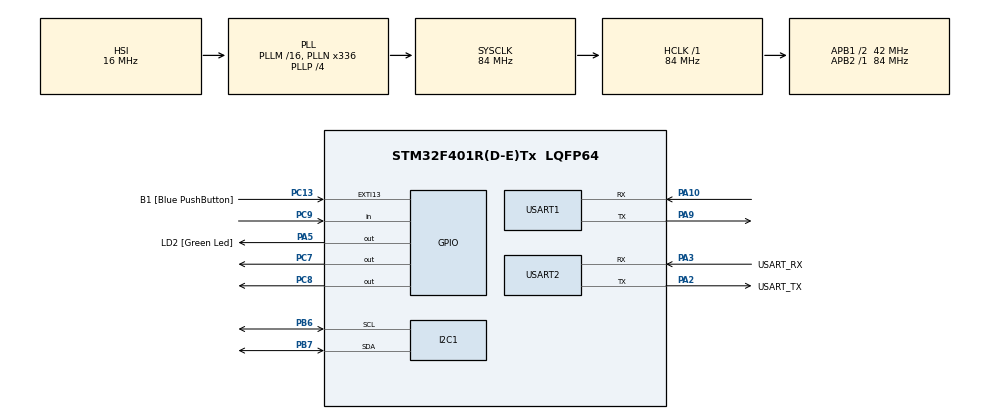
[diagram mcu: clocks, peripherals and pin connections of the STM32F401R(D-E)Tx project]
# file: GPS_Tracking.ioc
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Mcu.Family=STM32F4
Mcu.Name=STM32F401R(D-E)Tx
Mcu.Package=LQFP64
NVIC.PriorityGroup=NVIC_PRIORITYGROUP_4
NVIC.RTC_Alarm_IRQn=true\:0\:0\:false\:false\:true\:true\:true\:true
PA10.Mode=Asynchronous
PA10.Signal=USART1_RX
PA13.GPIO_Label=TMS
PA13.Mode=Trace_Asynchronous_SW
PA13.Signal=SYS_JTMS-SWDIO
PA14.GPIO_Label=TCK
PA14.Mode=Trace_Asynchronous_SW
PA14.Signal=SYS_JTCK-SWCLK
PA2.GPIO_Label=USART_TX
PA2.GPIO_Mode=GPIO_MODE_AF_PP
PA2.GPIO_PuPd=GPIO_NOPULL
PA2.GPIO_Speed=GPIO_SPEED_FREQ_LOW
PA2.Mode=Asynchronous
PA2.Signal=USART2_TX
PA3.GPIO_Label=USART_RX
PA3.GPIO_Mode=GPIO_MODE_AF_PP
PA3.GPIO_PuPd=GPIO_NOPULL
PA3.GPIO_Speed=GPIO_SPEED_FREQ_LOW
PA3.Mode=Asynchronous
PA3.Signal=USART2_RX
PA5.GPIO_Label=LD2 [Green Led]
PA5.GPIO_Mode=GPIO_MODE_OUTPUT_PP
PA5.GPIO_PuPd=GPIO_NOPULL
PA5.GPIO_Speed=GPIO_SPEED_FREQ_LOW
PA5.Signal=GPIO_Output
PA9.Mode=Asynchronous
PA9.Signal=USART1_TX
PB3.GPIO_Label=SWO
PB3.Mode=Trace_Asynchronous_SW
PB3.Signal=SYS_JTDO-SWO
PB6.Mode=I2C
PB6.Signal=I2C1_SCL
PB7.Mode=I2C
PB7.Signal=I2C1_SDA
PC13-ANTI_TAMP.GPIO_Label=B1 [Blue PushButton]
PC13-ANTI_TAMP.GPIO_ModeDefaultEXTI=GPIO_MODE_IT_FALLING
PC13-ANTI_TAMP.GPIO_PuPd=GPIO_NOPULL
PC13-ANTI_TAMP.Signal=GPXTI13
PC14-OSC32_IN.Mode=LSE-External-Oscillator
PC14-OSC32_IN.Signal=RCC_OSC32_IN
PC15-OSC32_OUT.Mode=LSE-External-Oscillator
PC15-OSC32_OUT.Signal=RCC_OSC32_OUT
PC7.Signal=GPIO_Output
PC8.Signal=GPIO_Output
PC9.Signal=GPIO_Input
PH0\ -\ OSC_IN.Mode=HSE-External-Clock-Source
PH0\ -\ OSC_IN.Signal=RCC_OSC_IN
PH1\ -\ OSC_OUT.Mode=HSE-External-Clock-Source
PH1\ -\ OSC_OUT.Signal=RCC_OSC_OUT
ProjectManager.HeapSize=0x200
ProjectManager.StackSize=0x400
ProjectManager.TargetToolchain=STM32CubeIDE
RCC.48MHZClocksFreq_Value=48000000
RCC.AHBFreq_Value=84000000
RCC.APB1CLKDivider=RCC_HCLK_DIV2
RCC.APB1Freq_Value=42000000
RCC.APB1TimFreq_Value=84000000
RCC.APB2Freq_Value=84000000
RCC.APB2TimFreq_Value=84000000
RCC.CortexFreq_Value=84000000
RCC.HCLKFreq_Value=84000000
RCC.HSE_VALUE=8000000
RCC.HSI_VALUE=16000000
RCC.PLLN=336
RCC.PLLP=RCC_PLLP_DIV4
RCC.PLLQ=7
RCC.SYSCLKFreq_VALUE=84000000
RCC.SYSCLKSource=RCC_SYSCLKSOURCE_PLLCLK
RCC.VCOOutputFreq_Value=336000000
RTC.Alarm=RTC_ALARM_A
RTC.AlarmDateWeekDaySel=RTC_ALARMDATEWEEKDAYSEL_WEEKDAY
RTC.AlarmMaskSeconds=RTC_ALARMMASK_SECONDS
RTC.AlarmSubSecondMask=RTC_ALARMSUBSECONDMASK_NONE
RTC.Seconds_A=1
RTC.SubSeconds_A=0
USART1.VirtualMode=VM_ASYNC
USART2.VirtualMode=VM_ASYNC
VP_RTC_VS_RTC_Activate.Mode=RTC_Enabled
VP_RTC_VS_RTC_Alarm_A_Intern.Mode=Alarm A
VP_RTC_VS_RTC_Calendar.Mode=RTC_Calendar
VP_TIM1_VS_ClockSourceINT.Mode=Internal
board=NUCLEO-F401RE

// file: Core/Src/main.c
/* USER CODE BEGIN Header */
/**
  ******************************************************************************
  * @file           : main.c
  * @brief          : Main program body
  ******************************************************************************
  * @attention
  *
  * Copyright (c) 2025 STMicroelectronics.
  * All rights reserved.
  *
  * This software is licensed under terms that can be found in the LICENSE file
  * in the root directory of this software component.
  * If no LICENSE file comes with this software, it is provided AS-IS.
  *
  ******************************************************************************
  */
/* USER CODE END Header */
#include "main.h"

I2C_HandleTypeDef hi2c1;

RTC_HandleTypeDef hrtc;

TIM_HandleTypeDef htim1;

UART_HandleTypeDef huart1;
UART_HandleTypeDef huart2;

/* USER CODE BEGIN PV */

// struct for time
struct time{
  uint8_t hours;
  uint8_t mins;
  uint8_t seconds;
  uint8_t microSeconds;
};

/* USER CODE END PV */

void SystemClock_Config(void);
static void MX_GPIO_Init(void);
static void MX_I2C1_Init(void);
static void MX_USART1_UART_Init(void);
static void MX_USART2_UART_Init(void);
static void MX_RTC_Init(void);
static void MX_TIM1_Init(void);

/* USER CODE BEGIN 0 */

// Global variables
double latitude, longitude;
struct time time;
uint8_t hr;
uint16_t distance;

/**
  * @brief RTC ISR
  * @param None
  * @retval None
  */
void HAL_RTC_AlarmAEventCallback(RTC_HandleTypeDef *hrtc) {
	// Get alarm values
  RTC_AlarmTypeDef sAlarm;
  HAL_RTC_GetAlarm(hrtc,&sAlarm,RTC_ALARM_A,FORMAT_BIN);

  // Increment Alarm value to ensure next second will trigger alarm again
  if(sAlarm.AlarmTime.Seconds>58) {
    sAlarm.AlarmTime.Seconds=0;
    if( sAlarm.AlarmTime.Minutes > 58 ){
        sAlarm.AlarmTime.Minutes = 0;
        sAlarm.AlarmTime.Hours++;
    }
    else{
    	sAlarm.AlarmTime.Minutes++;
    }
  }else{
    sAlarm.AlarmTime.Seconds=sAlarm.AlarmTime.Seconds+1;
  }

    while(HAL_RTC_SetAlarm_IT(hrtc, &sAlarm, FORMAT_BIN)!=HAL_OK){}
  // Toggle LED Pin to indicate if ISR is working
    HAL_GPIO_TogglePin(LD2_GPIO_Port, LD2_Pin);
}

/* USER CODE END 0 */

int main(void)
{

  /* MCU Configuration--------------------------------------------------------*/

  /* Reset of all peripherals, Initializes the Flash interface and the Systick. */
  HAL_Init();

  /* Configure the system clock */
  SystemClock_Config();

  /* Initialize all configured peripherals */
  MX_GPIO_Init();
  MX_I2C1_Init();
  MX_USART1_UART_Init();
  MX_USART2_UART_Init();
  MX_RTC_Init();
  MX_TIM1_Init();

  /* Infinite loop */
  while (1)
  {

  }
}

void SystemClock_Config(void)
{
  RCC_OscInitTypeDef RCC_OscInitStruct = {0};
  RCC_ClkInitTypeDef RCC_ClkInitStruct = {0};

  /** Configure the main internal regulator output voltage
  */
  __HAL_RCC_PWR_CLK_ENABLE();
  __HAL_PWR_VOLTAGESCALING_CONFIG(PWR_REGULATOR_VOLTAGE_SCALE2);

  /** Initializes the RCC Oscillators according to the specified parameters
  * in the RCC_OscInitTypeDef structure.
  */
  RCC_OscInitStruct.OscillatorType = RCC_OSCILLATORTYPE_HSI|RCC_OSCILLATORTYPE_LSI;
  RCC_OscInitStruct.HSIState = RCC_HSI_ON;
  RCC_OscInitStruct.HSICalibrationValue = RCC_HSICALIBRATION_DEFAULT;
  RCC_OscInitStruct.LSIState = RCC_LSI_ON;
  RCC_OscInitStruct.PLL.PLLState = RCC_PLL_ON;
  RCC_OscInitStruct.PLL.PLLSource = RCC_PLLSOURCE_HSI;
  RCC_OscInitStruct.PLL.PLLM = 16;
  RCC_OscInitStruct.PLL.PLLN = 336;
  RCC_OscInitStruct.PLL.PLLP = RCC_PLLP_DIV4;
  RCC_OscInitStruct.PLL.PLLQ = 7;
  if (HAL_RCC_OscConfig(&RCC_OscInitStruct) != HAL_OK)
  {
    Error_Handler();
  }

  /** Initializes the CPU, AHB and APB buses clocks
  */
  RCC_ClkInitStruct.ClockType = RCC_CLOCKTYPE_HCLK|RCC_CLOCKTYPE_SYSCLK
                              |RCC_CLOCKTYPE_PCLK1|RCC_CLOCKTYPE_PCLK2;
  RCC_ClkInitStruct.SYSCLKSource = RCC_SYSCLKSOURCE_PLLCLK;
  RCC_ClkInitStruct.AHBCLKDivider = RCC_SYSCLK_DIV1;
  RCC_ClkInitStruct.APB1CLKDivider = RCC_HCLK_DIV2;
  RCC_ClkInitStruct.APB2CLKDivider = RCC_HCLK_DIV1;

  if (HAL_RCC_ClockConfig(&RCC_ClkInitStruct, FLASH_LATENCY_2) != HAL_OK)
  {
    Error_Handler();
  }
}

static void MX_I2C1_Init(void)
{

  hi2c1.Instance = I2C1;
  hi2c1.Init.ClockSpeed = 100000;
  hi2c1.Init.DutyCycle = I2C_DUTYCYCLE_2;
  hi2c1.Init.OwnAddress1 = 0;
  hi2c1.Init.AddressingMode = I2C_ADDRESSINGMODE_7BIT;
  hi2c1.Init.DualAddressMode = I2C_DUALADDRESS_DISABLE;
  hi2c1.Init.OwnAddress2 = 0;
  hi2c1.Init.GeneralCallMode = I2C_GENERALCALL_DISABLE;
  hi2c1.Init.NoStretchMode = I2C_NOSTRETCH_DISABLE;
  if (HAL_I2C_Init(&hi2c1) != HAL_OK)
  {
    Error_Handler();
  }

}

static void MX_RTC_Init(void)
{

  RTC_TimeTypeDef sTime = {0};
  RTC_DateTypeDef sDate = {0};
  RTC_AlarmTypeDef sAlarm = {0};

  /** Initialize RTC Only
  */
  hrtc.Instance = RTC;
  hrtc.Init.HourFormat = RTC_HOURFORMAT_24;
  hrtc.Init.AsynchPrediv = 127;
  hrtc.Init.SynchPrediv = 255;
  hrtc.Init.OutPut = RTC_OUTPUT_DISABLE;
  hrtc.Init.OutPutPolarity = RTC_OUTPUT_POLARITY_HIGH;
  hrtc.Init.OutPutType = RTC_OUTPUT_TYPE_OPENDRAIN;
  if (HAL_RTC_Init(&hrtc) != HAL_OK)
  {
    Error_Handler();
  }

  /** Initialize RTC and set the Time and Date
  */
  sTime.Hours = 0x0;
  sTime.Minutes = 0x0;
  sTime.Seconds = 0x0;
  sTime.DayLightSaving = RTC_DAYLIGHTSAVING_NONE;
  sTime.StoreOperation = RTC_STOREOPERATION_RESET;
  if (HAL_RTC_SetTime(&hrtc, &sTime, RTC_FORMAT_BCD) != HAL_OK)
  {
    Error_Handler();
  }
  sDate.WeekDay = RTC_WEEKDAY_MONDAY;
  sDate.Month = RTC_MONTH_JANUARY;
  sDate.Date = 0x1;
  sDate.Year = 0x0;

  if (HAL_RTC_SetDate(&hrtc, &sDate, RTC_FORMAT_BCD) != HAL_OK)
  {
    Error_Handler();
  }

  /** Enable the Alarm A
  */
  sAlarm.AlarmTime.Hours = 0x0;
  sAlarm.AlarmTime.Minutes = 0x0;
  sAlarm.AlarmTime.Seconds = 0x1;
  sAlarm.AlarmTime.SubSeconds = 0x0;
  sAlarm.AlarmTime.DayLightSaving = RTC_DAYLIGHTSAVING_NONE;
  sAlarm.AlarmTime.StoreOperation = RTC_STOREOPERATION_RESET;
  sAlarm.AlarmMask = RTC_ALARMMASK_SECONDS;
  sAlarm.AlarmSubSecondMask = RTC_ALARMSUBSECONDMASK_NONE;
  sAlarm.AlarmDateWeekDaySel = RTC_ALARMDATEWEEKDAYSEL_WEEKDAY;
  sAlarm.AlarmDateWeekDay = RTC_WEEKDAY_MONDAY;
  sAlarm.Alarm = RTC_ALARM_A;
  if (HAL_RTC_SetAlarm_IT(&hrtc, &sAlarm, RTC_FORMAT_BCD) != HAL_OK)
  {
    Error_Handler();
  }

}

static void MX_TIM1_Init(void)
{

  TIM_ClockConfigTypeDef sClockSourceConfig = {0};
  TIM_MasterConfigTypeDef sMasterConfig = {0};

  htim1.Instance = TIM1;
  htim1.Init.Prescaler = 0;
  htim1.Init.CounterMode = TIM_COUNTERMODE_UP;
  htim1.Init.Period = 65535;
  htim1.Init.ClockDivision = TIM_CLOCKDIVISION_DIV1;
  htim1.Init.RepetitionCounter = 0;
  htim1.Init.AutoReloadPreload = TIM_AUTORELOAD_PRELOAD_DISABLE;
  if (HAL_TIM_Base_Init(&htim1) != HAL_OK)
  {
    Error_Handler();
  }
  sClockSourceConfig.ClockSource = TIM_CLOCKSOURCE_INTERNAL;
  if (HAL_TIM_ConfigClockSource(&htim1, &sClockSourceConfig) != HAL_OK)
  {
    Error_Handler();
  }
  sMasterConfig.MasterOutputTrigger = TIM_TRGO_RESET;
  sMasterConfig.MasterSlaveMode = TIM_MASTERSLAVEMODE_DISABLE;
  if (HAL_TIMEx_MasterConfigSynchronization(&htim1, &sMasterConfig) != HAL_OK)
  {
    Error_Handler();
  }

}

static void MX_USART1_UART_Init(void)
{

  huart1.Instance = USART1;
  huart1.Init.BaudRate = 115200;
  huart1.Init.WordLength = UART_WORDLENGTH_8B;
  huart1.Init.StopBits = UART_STOPBITS_1;
  huart1.Init.Parity = UART_PARITY_NONE;
  huart1.Init.Mode = UART_MODE_TX_RX;
  huart1.Init.HwFlowCtl = UART_HWCONTROL_NONE;
  huart1.Init.OverSampling = UART_OVERSAMPLING_16;
  if (HAL_UART_Init(&huart1) != HAL_OK)
  {
    Error_Handler();
  }

}

static void MX_USART2_UART_Init(void)
{

  huart2.Instance = USART2;
  huart2.Init.BaudRate = 115200;
  huart2.Init.WordLength = UART_WORDLENGTH_8B;
  huart2.Init.StopBits = UART_STOPBITS_1;
  huart2.Init.Parity = UART_PARITY_NONE;
  huart2.Init.Mode = UART_MODE_TX_RX;
  huart2.Init.HwFlowCtl = UART_HWCONTROL_NONE;
  huart2.Init.OverSampling = UART_OVERSAMPLING_16;
  if (HAL_UART_Init(&huart2) != HAL_OK)
  {
    Error_Handler();
  }

}

static void MX_GPIO_Init(void)
{
  GPIO_InitTypeDef GPIO_InitStruct = {0};

  /* GPIO Ports Clock Enable */
  __HAL_RCC_GPIOC_CLK_ENABLE();
  __HAL_RCC_GPIOH_CLK_ENABLE();
  __HAL_RCC_GPIOA_CLK_ENABLE();
  __HAL_RCC_GPIOB_CLK_ENABLE();

  /*Configure GPIO pin Output Level */
  HAL_GPIO_WritePin(LD2_GPIO_Port, LD2_Pin, GPIO_PIN_RESET);

  /*Configure GPIO pin Output Level */
  HAL_GPIO_WritePin(GPIOC, GPIO_PIN_7|GPIO_PIN_8, GPIO_PIN_RESET);

  /*Configure GPIO pin : B1_Pin */
  GPIO_InitStruct.Pin = B1_Pin;
  GPIO_InitStruct.Mode = GPIO_MODE_IT_FALLING;
  GPIO_InitStruct.Pull = GPIO_NOPULL;
  HAL_GPIO_Init(B1_GPIO_Port, &GPIO_InitStruct);

  /*Configure GPIO pin : LD2_Pin */
  GPIO_InitStruct.Pin = LD2_Pin;
  GPIO_InitStruct.Mode = GPIO_MODE_OUTPUT_PP;
  GPIO_InitStruct.Pull = GPIO_NOPULL;
  GPIO_InitStruct.Speed = GPIO_SPEED_FREQ_LOW;
  HAL_GPIO_Init(LD2_GPIO_Port, &GPIO_InitStruct);

  /*Configure GPIO pins : PC7 PC8 */
  GPIO_InitStruct.Pin = GPIO_PIN_7|GPIO_PIN_8;
  GPIO_InitStruct.Mode = GPIO_MODE_OUTPUT_PP;
  GPIO_InitStruct.Pull = GPIO_NOPULL;
  GPIO_InitStruct.Speed = GPIO_SPEED_FREQ_LOW;
  HAL_GPIO_Init(GPIOC, &GPIO_InitStruct);

  /*Configure GPIO pin : PC9 */
  GPIO_InitStruct.Pin = GPIO_PIN_9;
  GPIO_InitStruct.Mode = GPIO_MODE_INPUT;
  GPIO_InitStruct.Pull = GPIO_NOPULL;
  HAL_GPIO_Init(GPIOC, &GPIO_InitStruct);

}

void Error_Handler(void)
{
  __disable_irq();
  while (1)
  {
  }
}
